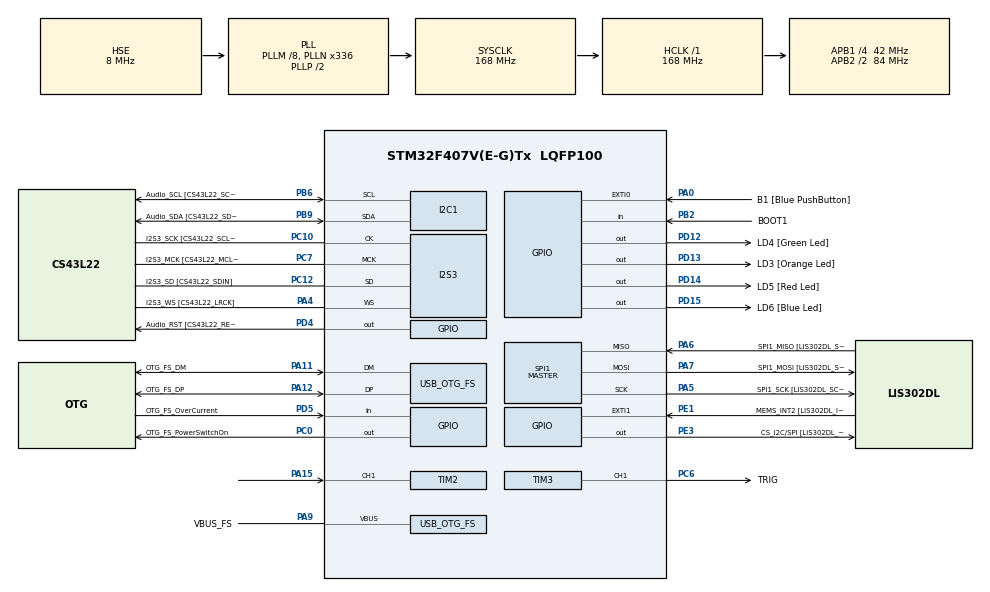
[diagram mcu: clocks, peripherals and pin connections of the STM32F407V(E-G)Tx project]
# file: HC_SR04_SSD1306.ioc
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Dma.I2C1_TX.0.Direction=DMA_MEMORY_TO_PERIPH
Dma.I2C1_TX.0.FIFOMode=DMA_FIFOMODE_DISABLE
Dma.I2C1_TX.0.Instance=DMA1_Stream6
Dma.I2C1_TX.0.MemDataAlignment=DMA_MDATAALIGN_BYTE
Dma.I2C1_TX.0.MemInc=DMA_MINC_ENABLE
Dma.I2C1_TX.0.Mode=DMA_NORMAL
Dma.I2C1_TX.0.PeriphDataAlignment=DMA_PDATAALIGN_BYTE
Dma.I2C1_TX.0.PeriphInc=DMA_PINC_DISABLE
Dma.I2C1_TX.0.Priority=DMA_PRIORITY_LOW
Dma.Request0=I2C1_TX
I2C1.I2C_Mode=I2C_Fast
I2S3.AudioFreq-Half_Duplex_Master=I2S_AUDIOFREQ_96K
I2S3.ErrorAudioFreq=-2.34 %
I2S3.ErrorAudioFreq-Half_Duplex_Master=0.8 %
I2S3.FullDuplexMode=I2S_FULLDUPLEXMODE_DISABLE
I2S3.Instance=SPI$Index
I2S3.RealAudioFreq=93.75 KHz
I2S3.RealAudioFreq-Half_Duplex_Master=96.774 KHz
I2S3.VirtualMode=I2S_MODE_MASTER
Mcu.Family=STM32F4
Mcu.Name=STM32F407V(E-G)Tx
Mcu.Package=LQFP100
NVIC.DMA1_Stream6_IRQn=true\:0\:0\:false\:false\:true\:false\:true\:true
NVIC.I2C1_ER_IRQn=true\:0\:0\:false\:false\:true\:true\:true\:true
NVIC.I2C1_EV_IRQn=true\:0\:0\:false\:false\:true\:true\:true\:true
NVIC.OTG_FS_IRQn=true\:0\:0\:false\:false\:true\:true\:true\:true
NVIC.PriorityGroup=NVIC_PRIORITYGROUP_0
NVIC.TIM2_IRQn=true\:0\:0\:false\:false\:true\:true\:true\:true
PA0-WKUP.GPIO_Label=B1 [Blue PushButton]
PA0-WKUP.GPIO_ModeDefaultEXTI=GPIO_MODE_EVT_RISING
PA0-WKUP.GPIO_PuPd=GPIO_NOPULL
PA0-WKUP.Signal=GPXTI0
PA10.GPIO_Label=OTG_FS_ID
PA10.GPIO_Mode=GPIO_MODE_AF_PP
PA10.GPIO_PuPd=GPIO_NOPULL
PA10.GPIO_Speed=GPIO_SPEED_FREQ_LOW
PA10.Signal=USB_OTG_FS_ID
PA11.GPIO_Label=OTG_FS_DM
PA11.GPIO_Mode=GPIO_MODE_AF_PP
PA11.GPIO_PuPd=GPIO_NOPULL
PA11.GPIO_Speed=GPIO_SPEED_FREQ_LOW
PA11.Mode=Host_Only
PA11.Signal=USB_OTG_FS_DM
PA12.GPIO_Label=OTG_FS_DP
PA12.GPIO_Mode=GPIO_MODE_AF_PP
PA12.GPIO_PuPd=GPIO_NOPULL
PA12.GPIO_Speed=GPIO_SPEED_FREQ_LOW
PA12.Mode=Host_Only
PA12.Signal=USB_OTG_FS_DP
PA13.GPIO_Label=SWDIO
PA13.Mode=Serial_Wire
PA13.Signal=SYS_JTMS-SWDIO
PA14.GPIO_Label=SWCLK
PA14.Mode=Serial_Wire
PA14.Signal=SYS_JTCK-SWCLK
PA15.Signal=S_TIM2_CH1_ETR
PA4.GPIO_Label=I2S3_WS [CS43L22_LRCK]
PA4.GPIO_Mode=GPIO_MODE_AF_PP
PA4.GPIO_PuPd=GPIO_NOPULL
PA4.GPIO_Speed=GPIO_SPEED_FREQ_LOW
PA4.Mode=Half_Duplex_Master
PA4.Signal=I2S3_WS
PA5.GPIO_Label=SPI1_SCK [LIS302DL_SCL/SPC]
PA5.GPIO_Mode=GPIO_MODE_AF_PP
PA5.GPIO_PuPd=GPIO_NOPULL
PA5.GPIO_Speed=GPIO_SPEED_FREQ_LOW
PA5.Mode=Full_Duplex_Master
PA5.Signal=SPI1_SCK
PA6.GPIO_Label=SPI1_MISO [LIS302DL_SDO]
PA6.GPIO_Mode=GPIO_MODE_AF_PP
PA6.GPIO_PuPd=GPIO_NOPULL
PA6.GPIO_Speed=GPIO_SPEED_FREQ_LOW
PA6.Mode=Full_Duplex_Master
PA6.Signal=SPI1_MISO
PA7.GPIO_Label=SPI1_MOSI [LIS302DL_SDA/SDI/SDO]
PA7.GPIO_Mode=GPIO_MODE_AF_PP
PA7.GPIO_PuPd=GPIO_NOPULL
PA7.GPIO_Speed=GPIO_SPEED_FREQ_LOW
PA7.Mode=Full_Duplex_Master
PA7.Signal=SPI1_MOSI
PA9.GPIO_Label=VBUS_FS
PA9.GPIO_Mode=GPIO_MODE_INPUT
PA9.GPIO_PuPd=GPIO_NOPULL
PA9.Mode=Activate_VBUS
PA9.Signal=USB_OTG_FS_VBUS
PB10.GPIO_Label=CLK_IN [MP45DT02_CLK]
PB10.GPIO_Mode=GPIO_MODE_AF_PP
PB10.GPIO_PuPd=GPIO_NOPULL
PB10.GPIO_Speed=GPIO_SPEED_FREQ_LOW
PB10.Signal=I2S2_CK
PB2.GPIO_Label=BOOT1
PB2.GPIO_Mode=GPIO_MODE_INPUT
PB2.GPIO_PuPd=GPIO_NOPULL
PB2.Signal=GPIO_Input
PB3.GPIO_Label=SWO
PB3.Signal=SYS_JTDO-SWO
PB6.GPIO_Label=Audio_SCL [CS43L22_SCL]
PB6.GPIO_Mode=GPIO_MODE_AF_OD
PB6.GPIO_Pu=GPIO_PULLUP
PB6.GPIO_PuPd=GPIO_NOPULL
PB6.GPIO_Speed=GPIO_SPEED_FREQ_LOW
PB6.Mode=I2C
PB6.Signal=I2C1_SCL
PB9.GPIO_Label=Audio_SDA [CS43L22_SDA]
PB9.GPIO_Mode=GPIO_MODE_AF_OD
PB9.GPIO_Pu=GPIO_PULLUP
PB9.GPIO_PuPd=GPIO_NOPULL
PB9.GPIO_Speed=GPIO_SPEED_FREQ_LOW
PB9.Mode=I2C
PB9.Signal=I2C1_SDA
PC0.GPIO_Label=OTG_FS_PowerSwitchOn
PC0.GPIO_PuPd=GPIO_NOPULL
PC0.GPIO_Speed=GPIO_SPEED_FREQ_LOW
PC0.PinState=GPIO_PIN_SET
PC0.Signal=GPIO_Output
PC10.GPIO_Label=I2S3_SCK [CS43L22_SCLK]
PC10.GPIO_Mode=GPIO_MODE_AF_PP
PC10.GPIO_PuPd=GPIO_NOPULL
PC10.GPIO_Speed=GPIO_SPEED_FREQ_LOW
PC10.Mode=Half_Duplex_Master
PC10.Signal=I2S3_CK
PC12.GPIO_Label=I2S3_SD [CS43L22_SDIN]
PC12.GPIO_Mode=GPIO_MODE_AF_PP
PC12.GPIO_PuPd=GPIO_NOPULL
PC12.GPIO_Speed=GPIO_SPEED_FREQ_LOW
PC12.Mode=Half_Duplex_Master
PC12.Signal=I2S3_SD
PC14-OSC32_IN.GPIO_Label=PC14-OSC32_IN
PC14-OSC32_IN.Mode=LSE-External-Oscillator
PC14-OSC32_IN.Signal=RCC_OSC32_IN
PC15-OSC32_OUT.GPIO_Label=PC15-OSC32_OUT
PC15-OSC32_OUT.Mode=LSE-External-Oscillator
PC15-OSC32_OUT.Signal=RCC_OSC32_OUT
PC3.GPIO_Label=PDM_OUT [MP45DT02_DOUT]
PC3.GPIO_Mode=GPIO_MODE_AF_PP
PC3.GPIO_PuPd=GPIO_NOPULL
PC3.GPIO_Speed=GPIO_SPEED_FREQ_LOW
PC3.Signal=I2S2_SD
PC6.GPIO_Label=TRIG
PC6.Signal=S_TIM3_CH1
PC7.GPIO_Label=I2S3_MCK [CS43L22_MCLK]
PC7.GPIO_Mode=GPIO_MODE_AF_PP
PC7.GPIO_PuPd=GPIO_NOPULL
PC7.GPIO_Speed=GPIO_SPEED_FREQ_LOW
PC7.Mode=Master_Clock_Activated
PC7.Signal=I2S3_MCK
PD12.GPIO_Label=LD4 [Green Led]
PD12.GPIO_PuPd=GPIO_NOPULL
PD12.GPIO_Speed=GPIO_SPEED_FREQ_LOW
PD12.Signal=GPIO_Output
PD13.GPIO_Label=LD3 [Orange Led]
PD13.GPIO_PuPd=GPIO_NOPULL
PD13.GPIO_Speed=GPIO_SPEED_FREQ_LOW
PD13.Signal=GPIO_Output
PD14.GPIO_Label=LD5 [Red Led]
PD14.GPIO_PuPd=GPIO_NOPULL
PD14.GPIO_Speed=GPIO_SPEED_FREQ_LOW
PD14.Signal=GPIO_Output
PD15.GPIO_Label=LD6 [Blue Led]
PD15.GPIO_PuPd=GPIO_NOPULL
PD15.GPIO_Speed=GPIO_SPEED_FREQ_LOW
PD15.Signal=GPIO_Output
PD4.GPIO_Label=Audio_RST [CS43L22_RESET]
PD4.GPIO_PuPd=GPIO_NOPULL
PD4.GPIO_Speed=GPIO_SPEED_FREQ_LOW
PD4.Signal=GPIO_Output
PD5.GPIO_Label=OTG_FS_OverCurrent
PD5.GPIO_Mode=GPIO_MODE_INPUT
PD5.GPIO_PuPd=GPIO_NOPULL
PD5.Signal=GPIO_Input
PE1.GPIO_Label=MEMS_INT2 [LIS302DL_INT2]
PE1.GPIO_ModeDefaultEXTI=GPIO_MODE_EVT_RISING
PE1.GPIO_PuPd=GPIO_NOPULL
PE1.Signal=GPXTI1
PE3.GPIO_Label=CS_I2C/SPI [LIS302DL_CS_I2C/SPI]
PE3.GPIO_PuPd=GPIO_NOPULL
PE3.GPIO_Speed=GPIO_SPEED_FREQ_LOW
PE3.Signal=GPIO_Output
PH0-OSC_IN.GPIO_Label=PH0-OSC_IN
PH0-OSC_IN.Mode=HSE-External-Oscillator
PH0-OSC_IN.Signal=RCC_OSC_IN
PH1-OSC_OUT.GPIO_Label=PH1-OSC_OUT
PH1-OSC_OUT.Mode=HSE-External-Oscillator
PH1-OSC_OUT.Signal=RCC_OSC_OUT
ProjectManager.HeapSize=0x200
ProjectManager.StackSize=0x400
ProjectManager.TargetToolchain=STM32CubeIDE
RCC.48MHZClocksFreq_Value=48000000
RCC.AHBFreq_Value=168000000
RCC.APB1CLKDivider=RCC_HCLK_DIV4
RCC.APB1Freq_Value=42000000
RCC.APB1TimFreq_Value=84000000
RCC.APB2CLKDivider=RCC_HCLK_DIV2
RCC.APB2Freq_Value=84000000
RCC.APB2TimFreq_Value=168000000
RCC.CortexFreq_Value=168000000
RCC.HCLKFreq_Value=168000000
RCC.HSE_VALUE=8000000
RCC.HSI_VALUE=16000000
RCC.PLLM=8
RCC.PLLN=336
RCC.PLLQ=7
RCC.SYSCLKFreq_VALUE=168000000
RCC.SYSCLKSource=RCC_SYSCLKSOURCE_PLLCLK
RCC.VCOOutputFreq_Value=336000000
SH.S_TIM2_CH1_ETR.0=TIM2_CH1,Input_Capture1_from_TI1
SH.S_TIM2_CH1_ETR.1=TIM2_CH1,TriggerSource_TI1FP1
SH.S_TIM3_CH1.0=TIM3_CH1,PWM Generation1 CH1
SPI1.BaudRatePrescaler-Full_Duplex_Master=SPI_BAUDRATEPRESCALER_2
SPI1.CalculateBaudRate-Full_Duplex_Master=42.0 MBits/s
SPI1.Direction=SPI_DIRECTION_2LINES
SPI1.Mode=SPI_MODE_MASTER
SPI1.Mode-Full_Duplex_Master=SPI_MODE_MASTER
SPI1.VirtualType=VM_MASTER
TIM2.Channel-Input_Capture1_from_TI1=TIM_CHANNEL_1
TIM2.Channel-Input_Capture2_from_TI1_63=TIM_CHANNEL_2
TIM2.ICPolarity_CH2=TIM_INPUTCHANNELPOLARITY_FALLING
TIM2.Prescaler=83
TIM3.Channel-PWM\ Generation1\ CH1=TIM_CHANNEL_1
TIM3.Period=59999
TIM3.Prescaler=83
TIM3.Pulse-PWM\ Generation1\ CH1=10
USB_HOST.BSP.number=1
USB_HOST.USBH_HandleTypeDef-CDC_FS=hUsbHostFS
USB_HOST.VirtualModeFS=Cdc
USB_HOST0.BSP.STBoard=false
USB_HOST0.BSP.api=Unknown
USB_HOST0.BSP.instance=PC0
USB_HOST0.BSP.ip=GPIO
USB_HOST0.BSP.mode=Output
USB_HOST0.BSP.name=Drive_VBUS_FS
USB_HOST0.BSP.solution=PC0
USB_OTG_FS.VirtualMode=Host_Only
USB_OTG_FS.phy_itface=HCD_PHY_EMBEDDED
VP_TIM2_VS_ControllerModeReset.Mode=Reset Mode
VP_TIM2_VS_indirect_ch1.Mode=Input_Capture2_from_TI1_63
VP_TIM3_VS_ClockSourceINT.Mode=Internal
VP_USB_HOST_VS_USB_HOST_CDC_FS.Mode=CDC_FS
board=STM32F407G-DISC1

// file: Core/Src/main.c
/* USER CODE BEGIN Header */
/**
  ******************************************************************************
  * @file           : main.c
  * @brief          : Main program body
  ******************************************************************************
  * @attention
  *
  * Copyright (c) 2026 STMicroelectronics.
  * All rights reserved.
  *
  * This software is licensed under terms that can be found in the LICENSE file
  * in the root directory of this software component.
  * If no LICENSE file comes with this software, it is provided AS-IS.
  *
  ******************************************************************************
  */
/* USER CODE END Header */
#include "main.h"
#include "usb_host.h"

/* USER CODE BEGIN Includes */
#include "ssd1306.h"
#include "ssd1306_fonts.h"
#include <stdio.h>
/* USER CODE END Includes */

I2C_HandleTypeDef hi2c1;
DMA_HandleTypeDef hdma_i2c1_tx;

I2S_HandleTypeDef hi2s3;

SPI_HandleTypeDef hspi1;

TIM_HandleTypeDef htim2;
TIM_HandleTypeDef htim3;

/* USER CODE BEGIN PV */
volatile uint32_t time = 0;
volatile uint8_t flag = 0;
float distance_cm = 0;
char buffer[20] = {0};
/* USER CODE END PV */

void SystemClock_Config(void);
static void MX_GPIO_Init(void);
static void MX_DMA_Init(void);
static void MX_I2C1_Init(void);
static void MX_I2S3_Init(void);
static void MX_SPI1_Init(void);
static void MX_TIM2_Init(void);
static void MX_TIM3_Init(void);
void MX_USB_HOST_Process(void);

int main(void)
{

  /* MCU Configuration--------------------------------------------------------*/

  /* Reset of all peripherals, Initializes the Flash interface and the Systick. */
  HAL_Init();

  /* Configure the system clock */
  SystemClock_Config();

  /* Initialize all configured peripherals */
  MX_GPIO_Init();
  MX_DMA_Init();
  MX_I2C1_Init();
  MX_I2S3_Init();
  MX_SPI1_Init();
  MX_TIM2_Init();
  MX_USB_HOST_Init();
  MX_TIM3_Init();
  /* USER CODE BEGIN 2 */

  ssd1306_Fill(Black);
    ssd1306_SetCursor(10, 25);
    ssd1306_WriteString("SYSTEM READY", Font_7x10, White);
    ssd1306_UpdateScreen();
    HAL_Delay(2000);

  ssd1306_Init();
  HAL_TIM_PWM_Start(&htim3, TIM_CHANNEL_1);
  HAL_TIM_IC_Start_IT(&htim2, TIM_CHANNEL_1);
  HAL_TIM_IC_Start_IT(&htim2, TIM_CHANNEL_2);
  /* USER CODE END 2 */

  /* Infinite loop */
  while (1)
  {
    MX_USB_HOST_Process();

    /* USER CODE BEGIN 3 */
    if(flag == 1){
    	flag = 0;
    	distance_cm = (float)time / 58.0f;
    	sprintf(buffer,"Distance(cm):%.2f",distance_cm);
    	ssd1306_Fill(Black);
    	ssd1306_SetCursor(5,25);
    	ssd1306_WriteString(buffer,Font_6x8,White);
    	ssd1306_UpdateScreen_DMA();
    }

  }
  /* USER CODE END 3 */
}

void SystemClock_Config(void)
{
  RCC_OscInitTypeDef RCC_OscInitStruct = {0};
  RCC_ClkInitTypeDef RCC_ClkInitStruct = {0};

  /** Configure the main internal regulator output voltage
  */
  __HAL_RCC_PWR_CLK_ENABLE();
  __HAL_PWR_VOLTAGESCALING_CONFIG(PWR_REGULATOR_VOLTAGE_SCALE1);

  /** Initializes the RCC Oscillators according to the specified parameters
  * in the RCC_OscInitTypeDef structure.
  */
  RCC_OscInitStruct.OscillatorType = RCC_OSCILLATORTYPE_HSE;
  RCC_OscInitStruct.HSEState = RCC_HSE_ON;
  RCC_OscInitStruct.PLL.PLLState = RCC_PLL_ON;
  RCC_OscInitStruct.PLL.PLLSource = RCC_PLLSOURCE_HSE;
  RCC_OscInitStruct.PLL.PLLM = 8;
  RCC_OscInitStruct.PLL.PLLN = 336;
  RCC_OscInitStruct.PLL.PLLP = RCC_PLLP_DIV2;
  RCC_OscInitStruct.PLL.PLLQ = 7;
  if (HAL_RCC_OscConfig(&RCC_OscInitStruct) != HAL_OK)
  {
    Error_Handler();
  }

  /** Initializes the CPU, AHB and APB buses clocks
  */
  RCC_ClkInitStruct.ClockType = RCC_CLOCKTYPE_HCLK|RCC_CLOCKTYPE_SYSCLK
                              |RCC_CLOCKTYPE_PCLK1|RCC_CLOCKTYPE_PCLK2;
  RCC_ClkInitStruct.SYSCLKSource = RCC_SYSCLKSOURCE_PLLCLK;
  RCC_ClkInitStruct.AHBCLKDivider = RCC_SYSCLK_DIV1;
  RCC_ClkInitStruct.APB1CLKDivider = RCC_HCLK_DIV4;
  RCC_ClkInitStruct.APB2CLKDivider = RCC_HCLK_DIV2;

  if (HAL_RCC_ClockConfig(&RCC_ClkInitStruct, FLASH_LATENCY_5) != HAL_OK)
  {
    Error_Handler();
  }
}

static void MX_I2C1_Init(void)
{

  hi2c1.Instance = I2C1;
  hi2c1.Init.ClockSpeed = 400000;
  hi2c1.Init.DutyCycle = I2C_DUTYCYCLE_2;
  hi2c1.Init.OwnAddress1 = 0;
  hi2c1.Init.AddressingMode = I2C_ADDRESSINGMODE_7BIT;
  hi2c1.Init.DualAddressMode = I2C_DUALADDRESS_DISABLE;
  hi2c1.Init.OwnAddress2 = 0;
  hi2c1.Init.GeneralCallMode = I2C_GENERALCALL_DISABLE;
  hi2c1.Init.NoStretchMode = I2C_NOSTRETCH_DISABLE;
  if (HAL_I2C_Init(&hi2c1) != HAL_OK)
  {
    Error_Handler();
  }

}

static void MX_I2S3_Init(void)
{

  hi2s3.Instance = SPI3;
  hi2s3.Init.Mode = I2S_MODE_MASTER_TX;
  hi2s3.Init.Standard = I2S_STANDARD_PHILIPS;
  hi2s3.Init.DataFormat = I2S_DATAFORMAT_16B;
  hi2s3.Init.MCLKOutput = I2S_MCLKOUTPUT_ENABLE;
  hi2s3.Init.AudioFreq = I2S_AUDIOFREQ_96K;
  hi2s3.Init.CPOL = I2S_CPOL_LOW;
  hi2s3.Init.ClockSource = I2S_CLOCK_PLL;
  hi2s3.Init.FullDuplexMode = I2S_FULLDUPLEXMODE_DISABLE;
  if (HAL_I2S_Init(&hi2s3) != HAL_OK)
  {
    Error_Handler();
  }

}

static void MX_SPI1_Init(void)
{

  /* SPI1 parameter configuration*/
  hspi1.Instance = SPI1;
  hspi1.Init.Mode = SPI_MODE_MASTER;
  hspi1.Init.Direction = SPI_DIRECTION_2LINES;
  hspi1.Init.DataSize = SPI_DATASIZE_8BIT;
  hspi1.Init.CLKPolarity = SPI_POLARITY_LOW;
  hspi1.Init.CLKPhase = SPI_PHASE_1EDGE;
  hspi1.Init.NSS = SPI_NSS_SOFT;
  hspi1.Init.BaudRatePrescaler = SPI_BAUDRATEPRESCALER_2;
  hspi1.Init.FirstBit = SPI_FIRSTBIT_MSB;
  hspi1.Init.TIMode = SPI_TIMODE_DISABLE;
  hspi1.Init.CRCCalculation = SPI_CRCCALCULATION_DISABLE;
  hspi1.Init.CRCPolynomial = 10;
  if (HAL_SPI_Init(&hspi1) != HAL_OK)
  {
    Error_Handler();
  }

}

static void MX_TIM2_Init(void)
{

  TIM_SlaveConfigTypeDef sSlaveConfig = {0};
  TIM_MasterConfigTypeDef sMasterConfig = {0};
  TIM_IC_InitTypeDef sConfigIC = {0};

  htim2.Instance = TIM2;
  htim2.Init.Prescaler = 83;
  htim2.Init.CounterMode = TIM_COUNTERMODE_UP;
  htim2.Init.Period = 4294967295;
  htim2.Init.ClockDivision = TIM_CLOCKDIVISION_DIV1;
  htim2.Init.AutoReloadPreload = TIM_AUTORELOAD_PRELOAD_DISABLE;
  if (HAL_TIM_Base_Init(&htim2) != HAL_OK)
  {
    Error_Handler();
  }
  if (HAL_TIM_IC_Init(&htim2) != HAL_OK)
  {
    Error_Handler();
  }
  sSlaveConfig.SlaveMode = TIM_SLAVEMODE_RESET;
  sSlaveConfig.InputTrigger = TIM_TS_TI1FP1;
  sSlaveConfig.TriggerPolarity = TIM_INPUTCHANNELPOLARITY_RISING;
  sSlaveConfig.TriggerFilter = 0;
  if (HAL_TIM_SlaveConfigSynchro(&htim2, &sSlaveConfig) != HAL_OK)
  {
    Error_Handler();
  }
  sMasterConfig.MasterOutputTrigger = TIM_TRGO_RESET;
  sMasterConfig.MasterSlaveMode = TIM_MASTERSLAVEMODE_DISABLE;
  if (HAL_TIMEx_MasterConfigSynchronization(&htim2, &sMasterConfig) != HAL_OK)
  {
    Error_Handler();
  }
  sConfigIC.ICPolarity = TIM_INPUTCHANNELPOLARITY_RISING;
  sConfigIC.ICSelection = TIM_ICSELECTION_DIRECTTI;
  sConfigIC.ICPrescaler = TIM_ICPSC_DIV1;
  sConfigIC.ICFilter = 0;
  if (HAL_TIM_IC_ConfigChannel(&htim2, &sConfigIC, TIM_CHANNEL_1) != HAL_OK)
  {
    Error_Handler();
  }
  sConfigIC.ICPolarity = TIM_INPUTCHANNELPOLARITY_FALLING;
  sConfigIC.ICSelection = TIM_ICSELECTION_INDIRECTTI;
  if (HAL_TIM_IC_ConfigChannel(&htim2, &sConfigIC, TIM_CHANNEL_2) != HAL_OK)
  {
    Error_Handler();
  }

}

static void MX_TIM3_Init(void)
{

  TIM_ClockConfigTypeDef sClockSourceConfig = {0};
  TIM_MasterConfigTypeDef sMasterConfig = {0};
  TIM_OC_InitTypeDef sConfigOC = {0};

  htim3.Instance = TIM3;
  htim3.Init.Prescaler = 83;
  htim3.Init.CounterMode = TIM_COUNTERMODE_UP;
  htim3.Init.Period = 59999;
  htim3.Init.ClockDivision = TIM_CLOCKDIVISION_DIV1;
  htim3.Init.AutoReloadPreload = TIM_AUTORELOAD_PRELOAD_DISABLE;
  if (HAL_TIM_Base_Init(&htim3) != HAL_OK)
  {
    Error_Handler();
  }
  sClockSourceConfig.ClockSource = TIM_CLOCKSOURCE_INTERNAL;
  if (HAL_TIM_ConfigClockSource(&htim3, &sClockSourceConfig) != HAL_OK)
  {
    Error_Handler();
  }
  if (HAL_TIM_PWM_Init(&htim3) != HAL_OK)
  {
    Error_Handler();
  }
  sMasterConfig.MasterOutputTrigger = TIM_TRGO_RESET;
  sMasterConfig.MasterSlaveMode = TIM_MASTERSLAVEMODE_DISABLE;
  if (HAL_TIMEx_MasterConfigSynchronization(&htim3, &sMasterConfig) != HAL_OK)
  {
    Error_Handler();
  }
  sConfigOC.OCMode = TIM_OCMODE_PWM1;
  sConfigOC.Pulse = 10;
  sConfigOC.OCPolarity = TIM_OCPOLARITY_HIGH;
  sConfigOC.OCFastMode = TIM_OCFAST_DISABLE;
  if (HAL_TIM_PWM_ConfigChannel(&htim3, &sConfigOC, TIM_CHANNEL_1) != HAL_OK)
  {
    Error_Handler();
  }
  HAL_TIM_MspPostInit(&htim3);

}

static void MX_DMA_Init(void)
{

  /* DMA controller clock enable */
  __HAL_RCC_DMA1_CLK_ENABLE();

  /* DMA interrupt init */
  /* DMA1_Stream6_IRQn interrupt configuration */
  HAL_NVIC_SetPriority(DMA1_Stream6_IRQn, 0, 0);
  HAL_NVIC_EnableIRQ(DMA1_Stream6_IRQn);

}

static void MX_GPIO_Init(void)
{
  GPIO_InitTypeDef GPIO_InitStruct = {0};

  /* GPIO Ports Clock Enable */
  __HAL_RCC_GPIOE_CLK_ENABLE();
  __HAL_RCC_GPIOC_CLK_ENABLE();
  __HAL_RCC_GPIOH_CLK_ENABLE();
  __HAL_RCC_GPIOA_CLK_ENABLE();
  __HAL_RCC_GPIOB_CLK_ENABLE();
  __HAL_RCC_GPIOD_CLK_ENABLE();

  /*Configure GPIO pin Output Level */
  HAL_GPIO_WritePin(CS_I2C_SPI_GPIO_Port, CS_I2C_SPI_Pin, GPIO_PIN_RESET);

  /*Configure GPIO pin Output Level */
  HAL_GPIO_WritePin(OTG_FS_PowerSwitchOn_GPIO_Port, OTG_FS_PowerSwitchOn_Pin, GPIO_PIN_SET);

  /*Configure GPIO pin Output Level */
  HAL_GPIO_WritePin(GPIOD, LD4_Pin|LD3_Pin|LD5_Pin|LD6_Pin
                          |Audio_RST_Pin, GPIO_PIN_RESET);

  /*Configure GPIO pin : CS_I2C_SPI_Pin */
  GPIO_InitStruct.Pin = CS_I2C_SPI_Pin;
  GPIO_InitStruct.Mode = GPIO_MODE_OUTPUT_PP;
  GPIO_InitStruct.Pull = GPIO_NOPULL;
  GPIO_InitStruct.Speed = GPIO_SPEED_FREQ_LOW;
  HAL_GPIO_Init(CS_I2C_SPI_GPIO_Port, &GPIO_InitStruct);

  /*Configure GPIO pin : OTG_FS_PowerSwitchOn_Pin */
  GPIO_InitStruct.Pin = OTG_FS_PowerSwitchOn_Pin;
  GPIO_InitStruct.Mode = GPIO_MODE_OUTPUT_PP;
  GPIO_InitStruct.Pull = GPIO_NOPULL;
  GPIO_InitStruct.Speed = GPIO_SPEED_FREQ_LOW;
  HAL_GPIO_Init(OTG_FS_PowerSwitchOn_GPIO_Port, &GPIO_InitStruct);

  /*Configure GPIO pin : PDM_OUT_Pin */
  GPIO_InitStruct.Pin = PDM_OUT_Pin;
  GPIO_InitStruct.Mode = GPIO_MODE_AF_PP;
  GPIO_InitStruct.Pull = GPIO_NOPULL;
  GPIO_InitStruct.Speed = GPIO_SPEED_FREQ_LOW;
  GPIO_InitStruct.Alternate = GPIO_AF5_SPI2;
  HAL_GPIO_Init(PDM_OUT_GPIO_Port, &GPIO_InitStruct);

  /*Configure GPIO pin : B1_Pin */
  GPIO_InitStruct.Pin = B1_Pin;
  GPIO_InitStruct.Mode = GPIO_MODE_EVT_RISING;
  GPIO_InitStruct.Pull = GPIO_NOPULL;
  HAL_GPIO_Init(B1_GPIO_Port, &GPIO_InitStruct);

  /*Configure GPIO pin : BOOT1_Pin */
  GPIO_InitStruct.Pin = BOOT1_Pin;
  GPIO_InitStruct.Mode = GPIO_MODE_INPUT;
  GPIO_InitStruct.Pull = GPIO_NOPULL;
  HAL_GPIO_Init(BOOT1_GPIO_Port, &GPIO_InitStruct);

  /*Configure GPIO pin : CLK_IN_Pin */
  GPIO_InitStruct.Pin = CLK_IN_Pin;
  GPIO_InitStruct.Mode = GPIO_MODE_AF_PP;
  GPIO_InitStruct.Pull = GPIO_NOPULL;
  GPIO_InitStruct.Speed = GPIO_SPEED_FREQ_LOW;
  GPIO_InitStruct.Alternate = GPIO_AF5_SPI2;
  HAL_GPIO_Init(CLK_IN_GPIO_Port, &GPIO_InitStruct);

  /*Configure GPIO pins : LD4_Pin LD3_Pin LD5_Pin LD6_Pin
                           Audio_RST_Pin */
  GPIO_InitStruct.Pin = LD4_Pin|LD3_Pin|LD5_Pin|LD6_Pin
                          |Audio_RST_Pin;
  GPIO_InitStruct.Mode = GPIO_MODE_OUTPUT_PP;
  GPIO_InitStruct.Pull = GPIO_NOPULL;
  GPIO_InitStruct.Speed = GPIO_SPEED_FREQ_LOW;
  HAL_GPIO_Init(GPIOD, &GPIO_InitStruct);

  /*Configure GPIO pin : OTG_FS_OverCurrent_Pin */
  GPIO_InitStruct.Pin = OTG_FS_OverCurrent_Pin;
  GPIO_InitStruct.Mode = GPIO_MODE_INPUT;
  GPIO_InitStruct.Pull = GPIO_NOPULL;
  HAL_GPIO_Init(OTG_FS_OverCurrent_GPIO_Port, &GPIO_InitStruct);

  /*Configure GPIO pin : MEMS_INT2_Pin */
  GPIO_InitStruct.Pin = MEMS_INT2_Pin;
  GPIO_InitStruct.Mode = GPIO_MODE_EVT_RISING;
  GPIO_InitStruct.Pull = GPIO_NOPULL;
  HAL_GPIO_Init(MEMS_INT2_GPIO_Port, &GPIO_InitStruct);

}

/* USER CODE BEGIN 4 */
void HAL_TIM_IC_CaptureCallback(TIM_HandleTypeDef *htim){
	if(htim ->Channel == HAL_TIM_ACTIVE_CHANNEL_2){
		time = HAL_TIM_ReadCapturedValue(htim ,TIM_CHANNEL_2);
		flag=1;
	}
}
/* USER CODE END 4 */

void Error_Handler(void)
{
  __disable_irq();
  while (1)
  {
  }
}
